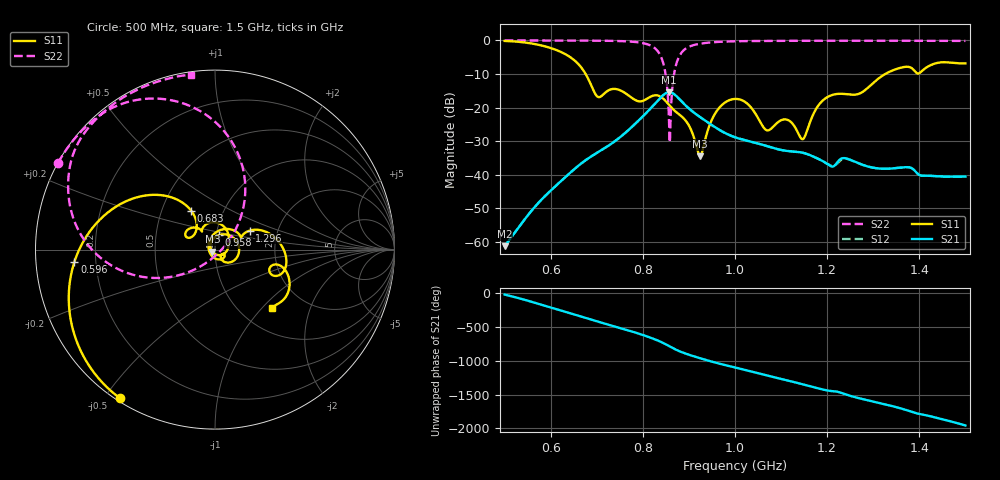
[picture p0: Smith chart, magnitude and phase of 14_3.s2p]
! TOUCHSTONE file generated by CST MICROWAVE STUDIO
! Date and time: Fri Oct  2 16:39:05 2020
! Project name: Scenario_1_Free_Space_out_of_line.cst
! Parameters = {Lambda=346.42; Step_1=17.321; dy1=122.207; dx1=520; L_HA=400; MT=2.54; Rad_Dielectric=30; Rad_Lower=7.3; Rad_Upper=30; a_HA=580; a_WG=246; b_HA=500; b_WG=121; c_HA=0; c_WG=187; d_feed=85; h_feed=15; h_lower=18; h_upper=40}
! Header version: 2018
! Port assignment regex: !\s*Touchstone port\s*([0-9]+)\s*=\s*(CST MWS port|CST DS port)\s*([0-9]+|Zmin|Zmax)\s*\(\"(.*)\"\)(\s*mode\s*([0-9]+))?.*
! Touchstone port assignment:
! Touchstone port 1 = CST MWS port 1 ("")
! Touchstone port 2 = CST MWS port 2 ("")
# GHz S DB R 50
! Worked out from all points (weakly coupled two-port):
!   1003 points, 500 MHz to 1.5 GHz, reference 50 ohm
!   highest |S21| = -15.42 dB at 857 MHz (marker M1); lowest = -61.3 dB at 500 MHz (marker M2)
!   lowest |S11| = -34.5 dB at 924 MHz (marker M3), VSWR 1.04, Z = 48.5 - j1.13 ohm
!   |S11| at or under -10 dB: 675.8 MHz to 1.326 GHz (650.2 MHz wide, 65 % of centre)
!   |S22| runs from -30.4 to 0.0 dB; largest |S21 - S12| = 0.00086
!   S11 on the Smith chart (normalised r, x): 500 MHz: 0.01, -0.55; 596 MHz: 0.12, -0.04; 683 MHz: 0.70, +0.33; 958 MHz: 1.03, +0.17; 1.296 GHz: 1.44, +0.32; 1.5 GHz: 1.39, -1.14
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0.5  -0.15 -122.7  -61.29 -22.9  -61.29 -22.9  -0.01 151.1
0.596  -2.09 -175.1  -45.26 153.6  -45.26 153.6  -0.02 144.4
0.667  -8.17 130.9  -36.58 10.2  -36.58 10.2  -0.04 138.3
0.683  -11.88 121.5  -35.00 -23.2  -35.00 -23.2  -0.06 136.7
0.703  -16.86 140.8  -33.27 -64.0  -33.27 -64.0  -0.08 134.4
0.78  -17.47 125.6  -25.28 144.0  -25.28 144.0  -0.42 120.1
0.834  -16.47 85.9  -17.69 13.6  -17.69 13.6  -3.51 86.1
0.847  -17.72 62.0  -15.98 -28.3  -15.98 -28.3  -8.32 63.9
0.857  -19.23 46.1  -15.42 -64.7  -15.42 -64.7  -24.88 19.6
0.868  -20.82 31.6  -16.02 -104.4  -16.02 -104.4  -9.82 -151.0
0.878  -21.95 17.7  -17.29 -136.1  -17.29 -136.1  -4.99 -169.6
0.924  -34.48 -142.0  -22.81 117.0  -22.81 117.0  -0.98 156.4
0.958  -21.52 74.6  -25.96 50.9  -25.96 50.9  -0.48 147.4
1  -17.42 0.9  -28.85 -20.1  -28.85 -20.1  -0.25 140.2
1.07  -26.80 -39.8  -31.52 -139.4  -31.52 -139.4  -0.14 132.4
1.112  -23.57 -48.6  -32.90 151.4  -32.90 151.5  -0.12 128.6
1.147  -29.42 -163.2  -33.46 89.7  -33.46 89.7  -0.11 125.8
1.167  -22.88 107.3  -34.42 53.0  -34.42 53.0  -0.10 124.2
1.202  -16.76 49.9  -36.97 -1.8  -36.86 -1.7  -0.09 121.5
1.296  -13.15 28.7  -37.81 -157.5  -37.81 -157.5  -0.08 114.3
1.334  -9.43 11.9  -38.20 141.5  -38.20 141.5  -0.09 111.4
1.5  -6.85 -45.8  -40.56 -156.6  -40.59 -156.4  -0.14 97.9
